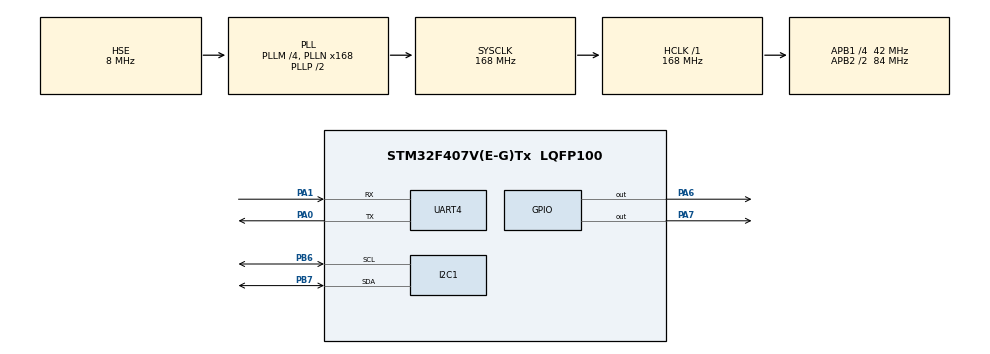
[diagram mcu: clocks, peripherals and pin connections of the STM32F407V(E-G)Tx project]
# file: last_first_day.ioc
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FREERTOS.INCLUDE_vTaskDelayUntil=1
FREERTOS.Tasks01=defaultTask,0,128,StartDefaultTask,Default,NULL,Dynamic,NULL,NULL
FREERTOS.configUSE_NEWLIB_REENTRANT=1
Mcu.Family=STM32F4
Mcu.Name=STM32F407V(E-G)Tx
Mcu.Package=LQFP100
NVIC.PriorityGroup=NVIC_PRIORITYGROUP_4
NVIC.TIM1_UP_TIM10_IRQn=true\:15\:0\:false\:false\:true\:false\:false\:true\:true
NVIC.TimeBase=TIM1_UP_TIM10_IRQn
NVIC.TimeBaseIP=TIM1
PA0-WKUP.Mode=Asynchronous
PA0-WKUP.Signal=UART4_TX
PA1.Mode=Asynchronous
PA1.Signal=UART4_RX
PA13.Mode=Serial_Wire
PA13.Signal=SYS_JTMS-SWDIO
PA14.Mode=Serial_Wire
PA14.Signal=SYS_JTCK-SWCLK
PA6.Signal=GPIO_Output
PA7.Signal=GPIO_Output
PB6.Mode=I2C
PB6.Signal=I2C1_SCL
PB7.Mode=I2C
PB7.Signal=I2C1_SDA
PH0-OSC_IN.Mode=HSE-External-Oscillator
PH0-OSC_IN.Signal=RCC_OSC_IN
PH1-OSC_OUT.Mode=HSE-External-Oscillator
PH1-OSC_OUT.Signal=RCC_OSC_OUT
ProjectManager.HeapSize=0x200
ProjectManager.StackSize=0x400
ProjectManager.TargetToolchain=STM32CubeIDE
RCC.48MHZClocksFreq_Value=84000000
RCC.AHBFreq_Value=168000000
RCC.APB1CLKDivider=RCC_HCLK_DIV4
RCC.APB1Freq_Value=42000000
RCC.APB1TimFreq_Value=84000000
RCC.APB2CLKDivider=RCC_HCLK_DIV2
RCC.APB2Freq_Value=84000000
RCC.APB2TimFreq_Value=168000000
RCC.CortexFreq_Value=168000000
RCC.HCLKFreq_Value=168000000
RCC.HSE_VALUE=8000000
RCC.HSI_VALUE=16000000
RCC.LSE_VALUE=32768
RCC.PLLM=4
RCC.PLLN=168
RCC.PLLSourceVirtual=RCC_PLLSOURCE_HSE
RCC.SYSCLKFreq_VALUE=168000000
RCC.SYSCLKSource=RCC_SYSCLKSOURCE_PLLCLK
RCC.VCOOutputFreq_Value=336000000
UART4.VirtualMode=Asynchronous
VP_FREERTOS_VS_CMSIS_V1.Mode=CMSIS_V1
VP_SYS_VS_tim1.Mode=TIM1
board=custom

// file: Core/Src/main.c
/* USER CODE BEGIN Header */
/**
  ******************************************************************************
  * @file           : main.c
  * @brief          : Main program body
  ******************************************************************************
  * @attention
  *
  * Copyright (c) 2025 STMicroelectronics.
  * All rights reserved.
  *
  * This software is licensed under terms that can be found in the LICENSE file
  * in the root directory of this software component.
  * If no LICENSE file comes with this software, it is provided AS-IS.
  *
  ******************************************************************************
  */
/* USER CODE END Header */
#include "main.h"
#include "cmsis_os.h"
#include "i2c.h"
#include "usart.h"
#include "gpio.h"

void SystemClock_Config(void);
void MX_FREERTOS_Init(void);

int main(void)
{

  /* MCU Configuration--------------------------------------------------------*/

  /* Reset of all peripherals, Initializes the Flash interface and the Systick. */
  HAL_Init();

  /* Configure the system clock */
  SystemClock_Config();

  /* Initialize all configured peripherals */
  MX_GPIO_Init();
  MX_I2C1_Init();
  MX_UART4_Init();

  /* Call init function for freertos objects (in cmsis_os2.c) */
  MX_FREERTOS_Init();

  /* Start scheduler */
  osKernelStart();

  /* We should never get here as control is now taken by the scheduler */

  /* Infinite loop */
  while (1)
  {

  }
}

void SystemClock_Config(void)
{
  RCC_OscInitTypeDef RCC_OscInitStruct = {0};
  RCC_ClkInitTypeDef RCC_ClkInitStruct = {0};

  /** Configure the main internal regulator output voltage
  */
  __HAL_RCC_PWR_CLK_ENABLE();
  __HAL_PWR_VOLTAGESCALING_CONFIG(PWR_REGULATOR_VOLTAGE_SCALE1);

  /** Initializes the RCC Oscillators according to the specified parameters
  * in the RCC_OscInitTypeDef structure.
  */
  RCC_OscInitStruct.OscillatorType = RCC_OSCILLATORTYPE_HSE;
  RCC_OscInitStruct.HSEState = RCC_HSE_ON;
  RCC_OscInitStruct.PLL.PLLState = RCC_PLL_ON;
  RCC_OscInitStruct.PLL.PLLSource = RCC_PLLSOURCE_HSE;
  RCC_OscInitStruct.PLL.PLLM = 4;
  RCC_OscInitStruct.PLL.PLLN = 168;
  RCC_OscInitStruct.PLL.PLLP = RCC_PLLP_DIV2;
  RCC_OscInitStruct.PLL.PLLQ = 4;
  if (HAL_RCC_OscConfig(&RCC_OscInitStruct) != HAL_OK)
  {
    Error_Handler();
  }

  /** Initializes the CPU, AHB and APB buses clocks
  */
  RCC_ClkInitStruct.ClockType = RCC_CLOCKTYPE_HCLK|RCC_CLOCKTYPE_SYSCLK
                              |RCC_CLOCKTYPE_PCLK1|RCC_CLOCKTYPE_PCLK2;
  RCC_ClkInitStruct.SYSCLKSource = RCC_SYSCLKSOURCE_PLLCLK;
  RCC_ClkInitStruct.AHBCLKDivider = RCC_SYSCLK_DIV1;
  RCC_ClkInitStruct.APB1CLKDivider = RCC_HCLK_DIV4;
  RCC_ClkInitStruct.APB2CLKDivider = RCC_HCLK_DIV2;

  if (HAL_RCC_ClockConfig(&RCC_ClkInitStruct, FLASH_LATENCY_5) != HAL_OK)
  {
    Error_Handler();
  }
}

void HAL_TIM_PeriodElapsedCallback(TIM_HandleTypeDef *htim)
{
  if (htim->Instance == TIM1)
  {
    HAL_IncTick();
  }
}

void Error_Handler(void)
{
  __disable_irq();
  while (1)
  {
  }
}

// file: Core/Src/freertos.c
/* USER CODE BEGIN Header */
/**
  ******************************************************************************
  * File Name          : freertos.c
  * Description        : Code for freertos applications
  ******************************************************************************
  * @attention
  *
  * Copyright (c) 2025 STMicroelectronics.
  * All rights reserved.
  *
  * This software is licensed under terms that can be found in the LICENSE file
  * in the root directory of this software component.
  * If no LICENSE file comes with this software, it is provided AS-IS.
  *
  ******************************************************************************
  */
/* USER CODE END Header */

#include "FreeRTOS.h"
#include "task.h"
#include "main.h"
#include "cmsis_os.h"
#include <string.h>
#include <stdio.h>
#include <math.h>

/* USER CODE BEGIN Includes */
#include "usart.h"
#include "gpio.h"
#include "i2c.h"
#define MPU6050_ADDR  (0x68 << 1)
/* USER CODE END Includes */

osThreadId defaultTaskHandle;

void StartDefaultTask(void const * argument);

void MX_FREERTOS_Init(void); /* (MISRA C 2004 rule 8.1) */

/* GetIdleTaskMemory prototype (linked to static allocation support) */
void vApplicationGetIdleTaskMemory( StaticTask_t **ppxIdleTaskTCBBuffer, StackType_t **ppxIdleTaskStackBuffer, uint32_t *pulIdleTaskStackSize );

/* USER CODE BEGIN GET_IDLE_TASK_MEMORY */
static StaticTask_t xIdleTaskTCBBuffer;
static StackType_t xIdleStack[configMINIMAL_STACK_SIZE];

void vApplicationGetIdleTaskMemory( StaticTask_t **ppxIdleTaskTCBBuffer, StackType_t **ppxIdleTaskStackBuffer, uint32_t *pulIdleTaskStackSize )
{
  *ppxIdleTaskTCBBuffer = &xIdleTaskTCBBuffer;
  *ppxIdleTaskStackBuffer = &xIdleStack[0];
  *pulIdleTaskStackSize = configMINIMAL_STACK_SIZE;
  /* place for user code */
}
/* USER CODE END GET_IDLE_TASK_MEMORY */

void MX_FREERTOS_Init(void) {

  /* Create the thread(s) */
  /* definition and creation of defaultTask */
  osThreadDef(defaultTask, StartDefaultTask, osPriorityNormal, 0, 128);
  defaultTaskHandle = osThreadCreate(osThread(defaultTask), NULL);

}
uint8_t Rec_Data[6];
int16_t Accel_X_RAW;
int16_t Accel_Y_RAW;
int16_t Accel_Z_RAW;
float Ax;
float Ay;
float Az;
char ax_str[16], ay_str[16], az_str[16];
int int_i = 0;
int i = 0;
char int_buf[10];
int16_t  Gyro_X_RAW;
int16_t  Gyro_Y_RAW;
int16_t  Gyro_Z_RAW;
float Gx;
float Gy;
float Gz;
char *leftSideDown     = "Left side down";
char *rightSideDown    = "Right side down";
char *frontSideDown    = "Front side down";
char *backSideDown     = "Back side down";
char *bottomDown       = "CENTER";
char *topSideDown      = "Top side down (flipped)";
char *newline          = "\r\n";
void float_to_string(float value, char *buf, int precision)
{
    i = 0;
    if (value < 0)
    {
        buf[i++] = '-';
        value = -value;
    }

    int int_part = (int)value;
    float frac_part = value - (float)int_part;

     int_i = 0;

    if (int_part == 0) {
        int_buf[int_i++] = '0';
    } else {
        while (int_part > 0)
        {
            int_buf[int_i++] = (int_part % 10) + '0';
            int_part /= 10;
        }
    }

    for (int j = int_i - 1; j >= 0; j--)
        buf[i++] = int_buf[j];

    buf[i++] = '.';

    for (int p = 0; p < precision; p++)
    {
        frac_part *= 10;
        int digit = (int)frac_part;
        buf[i++] = digit + '0';
        frac_part -= digit;
    }

    buf[i] = '\0';
}

void append_string(char *dest, const char *src, int *index)
{
    while (*src)
    {
        dest[(*index)++] = *src++;
    }
}

void MPU6050_Read_Gyro (void)
{
	char buf[64];
	uint8_t Rec_Data[6];

	// Read 6 BYTES of data starting from GYRO_XOUT_H register
	HAL_I2C_Mem_Read (&hi2c1, MPU6050_ADDR, 0x43, 1, Rec_Data, 6, 1000);

	Gyro_X_RAW = (int16_t)(Rec_Data[0] << 8 | Rec_Data [1]);
	Gyro_Y_RAW = (int16_t)(Rec_Data[2] << 8 | Rec_Data [3]);
	Gyro_Z_RAW = (int16_t)(Rec_Data[4] << 8 | Rec_Data [5]);

	Gx = (float)Gyro_X_RAW/131.0;
	Gy = (float)Gyro_Y_RAW/131.0;
	Gz = (float)Gyro_Z_RAW/131.0;

	float_to_string(Gx, ax_str, 2);
	float_to_string(Gy, ay_str, 2);
	float_to_string(Gz, az_str, 2);

	int index = 0;

	append_string(buf, "Ax: ", &index);
	append_string(buf, ax_str, &index);
	append_string(buf, " Ay: ", &index);
	append_string(buf, ay_str, &index);
	append_string(buf, " Az: ", &index);
	append_string(buf, az_str, &index);
	buf[index++] = '\r';
	buf[index++] = '\n';
	buf[index] = '\0';

	HAL_UART_Transmit(&huart4, (uint8_t*)buf, strlen(buf), 100);
	osDelay(10);

	HAL_UART_Transmit(&huart4, (uint8_t*)buf, strlen(buf), 100);
	osDelay(10);

	HAL_UART_Transmit(&huart4, (uint8_t*)buf, strlen(buf), 100);
	osDelay(10);
}
void MPU6050_Read_Accel (void)
{
	char buf[64];
	// Read 6 BYTES of data starting from ACCEL_XOUT_H (0x3B) register
	HAL_I2C_Mem_Read (&hi2c1, MPU6050_ADDR, 0x3B, 1, Rec_Data, 6, 1000);
	Accel_X_RAW = (int16_t)(Rec_Data[0] << 8 | Rec_Data [1]);
	Accel_Y_RAW = (int16_t)(Rec_Data[2] << 8 | Rec_Data [3]);
	Accel_Z_RAW = (int16_t)(Rec_Data[4] << 8 | Rec_Data [5]);
	Ax = (float)Accel_X_RAW/16384.0;
	Ay = (float)Accel_Y_RAW/16384.0;
	Az = (float)Accel_Z_RAW/16384.0;

	float abs_x = fabsf(Ax);
	float abs_y = fabsf(Ay);
	float abs_z = fabsf(Az);

	if (abs_x > abs_y && abs_x > abs_z)
	{
	    HAL_UART_Transmit(&huart4, (uint8_t*)((Ax > 0) ? leftSideDown : rightSideDown), strlen((Ax > 0) ? leftSideDown : rightSideDown), 100);
	    HAL_UART_Transmit(&huart4, (uint8_t*)newline, 2, 100);
	    osDelay(5);
	}
	else if (abs_y > abs_x && abs_y > abs_z)
	{
		if(Ay > 0)
		{
			HAL_UART_Transmit(&huart4, (uint8_t*) frontSideDown , strlen(frontSideDown), 100);
			HAL_UART_Transmit(&huart4, (uint8_t*)newline, 2, 100);
			osDelay(5);
		}
		else
		{
			 HAL_UART_Transmit(&huart4, (uint8_t*) backSideDown, strlen(backSideDown), 100);
			 HAL_UART_Transmit(&huart4, (uint8_t*)newline, 2, 100);
			 osDelay(5);
		}

	}
	else
	{
		if(Az > 0)
		{
			 HAL_UART_Transmit(&huart4, (uint8_t*)bottomDown, strlen(bottomDown), 100);
			 HAL_UART_Transmit(&huart4, (uint8_t*)newline, 2, 100);
			 osDelay(5);
		}
		else
		{
			 HAL_UART_Transmit(&huart4, (uint8_t*)topSideDown, strlen(topSideDown), 100);
			 HAL_UART_Transmit(&huart4, (uint8_t*)newline, 2, 100);
			 osDelay(5);
		}

	}
//	float Ax_ms2 = Ax * 9.81f;
//	float Ay_ms2 = Ay * 9.81f;
//	float Az_ms2 = Az * 9.81f;
//
//	float_to_string(Ax_ms2, ax_str, 2);
//	float_to_string(Ay_ms2, ay_str, 2);
//	float_to_string(Az_ms2, az_str, 2);
//
//
//	int index = 0;
//
//	append_string(buf, "Ax: ", &index);
//	append_string(buf, ax_str, &index);
//	append_string(buf, " Ay: ", &index);
//	append_string(buf, ay_str, &index);
//	append_string(buf, " Az: ", &index);
//	append_string(buf, az_str, &index);
//	buf[index++] = '\r';
//	buf[index++] = '\n';
//	buf[index] = '\0';
//
//	HAL_UART_Transmit(&huart4, (uint8_t*)buf, strlen(buf), 100);
//	osDelay(5);

}
void StartDefaultTask(void const * argument)
{
	 uint8_t check;
	 uint8_t Data;
	 int I2C_Status = 0;

  /* USER CODE BEGIN StartDefaultTask */
  /* Infinite loop */
  if(HAL_I2C_IsDeviceReady(&hi2c1 ,MPU6050_ADDR, 3,  100) == HAL_OK )
  {
	  char msg[20];
	  HAL_I2C_Mem_Read (&hi2c1,  0x68 << 1, 0x75, 1, &check, 1, 1000);  // read WHO_AM_I
      if(check == 0x68)
      {

    	  strcpy(msg, "ready to work\r\n");
    	  HAL_UART_Transmit(&huart4, (uint8_t*)msg, strlen(msg), 100);
    	  osDelay(1);
    	  Data = 0;
    	  HAL_I2C_Mem_Write(&hi2c1, MPU6050_ADDR, 0x6B, 1, &Data, 1, 1000);
    	  osDelay(1);
    	  Data = 0x07;
    	  if(HAL_I2C_Mem_Write(&hi2c1, MPU6050_ADDR, 0x19, 1, &Data, 1, 1000) == HAL_OK)
    	  {
    		  strcpy(msg, "fffffft\r\n");
    		  HAL_UART_Transmit(&huart4, (uint8_t*)msg, strlen(msg), 100);
    		  Data = 0x00;  // XA_ST=0,YA_ST=0,ZA_ST=0, FS_SEL=0 -> ± 2g
    		  osDelay(1);
			  HAL_I2C_Mem_Write(&hi2c1, MPU6050_ADDR, 0x1C, 1, &Data, 1, 1000);
			  osDelay(10);
			  Data = 0x00;  // XG_ST=0,YG_ST=0,ZG_ST=0, FS_SEL=0 -> ± 250 ̐/s
			  HAL_I2C_Mem_Write(&hi2c1, MPU6050_ADDR, 0x1B, 1, &Data, 1, 1000);
			  I2C_Status = 1;
    		  osDelay(1);
    	  }
      }
      else
      {
    	  strcpy(msg, "found but not ready \n");
    	  HAL_UART_Transmit(&huart4, (uint8_t*)msg, strlen(msg), 100);
    	  osDelay(10);
      }

  }
  else
  {
	  char msg[] = "DEVICE not FOUND\r\n";
	  HAL_UART_Transmit(&huart4, (uint8_t*)msg, strlen(msg), 100);
	  osDelay(1);
  }
  char msg[] = "Rtos Running like baremetal\r\n";
  for(;;)
  {
	  HAL_GPIO_TogglePin(GPIOA, GPIO_PIN_6);
	  osDelay(1);
	  HAL_UART_Transmit(&huart4, (uint8_t*)msg, strlen(msg), 100);
	  osDelay(4);
	  if(I2C_Status == 1)
	  {
		  MPU6050_Read_Accel();
		 // MPU6050_Read_Gyro();

	  }

	  osDelay(500);

  }
  /* USER CODE END StartDefaultTask */
}
